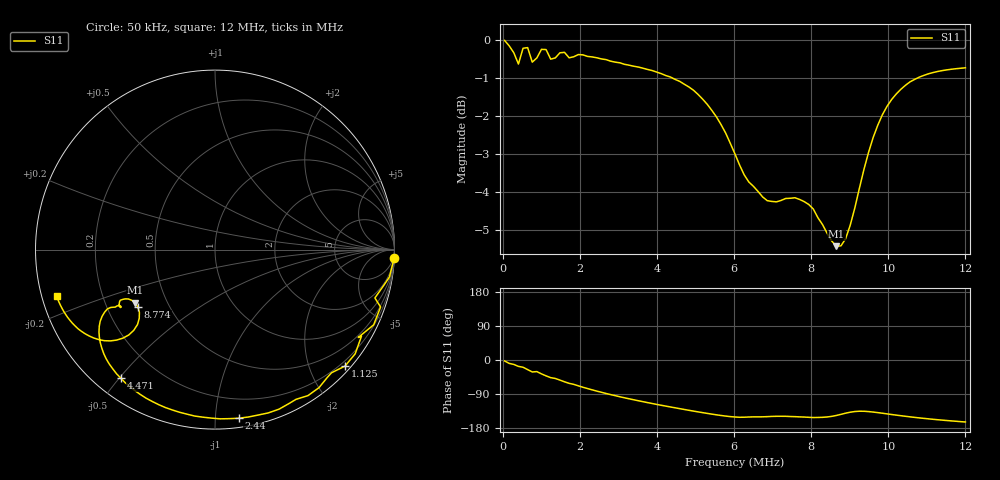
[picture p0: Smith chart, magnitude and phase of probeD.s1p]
# Hz S RI R 50
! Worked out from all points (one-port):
!   101 points, 50 kHz to 12 MHz, reference 50 ohm
!   lowest |S11| = -5.4 dB at 8.654 MHz (marker M1), VSWR 3.30, Z = 16.4 - j13.6 ohm
!   |S11| at or under -10 dB: nowhere
!   S11 on the Smith chart (normalised r, x): 50 kHz: 0, -45; 1.125 MHz: 0.11, -2.61; 2.44 MHz: 0.06, -1.15; 4.471 MHz: 0.07, -0.51; 8.774 MHz: 0.33, -0.30; 12 MHz: 0.04, -0.14
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50000  0.9989 -0.0449
169500  0.9716 -0.1528
408500  0.8908 -0.2695
528000  0.9226 -0.3197
647500  0.8841 -0.4191
767000  0.7978 -0.4897
886500  0.8159 -0.4831
1125500  0.7243 -0.649
1245000  0.6492 -0.6862
1603500  0.5179 -0.8135
2081500  0.2964 -0.91
2440000  0.131 -0.9396
3037500  -0.1132 -0.9274
3754500  -0.3488 -0.8465
4471500  -0.524 -0.7172
4591000  -0.548 -0.6923
5308000  -0.6392 -0.5185
6025000  -0.6156 -0.3495
6861500  -0.5293 -0.3116
7578500  -0.534 -0.3145
8056500  -0.528 -0.2824
8654000  -0.4452 -0.2964
8773500  -0.43 -0.3189
9012500  -0.4221 -0.383
9610000  -0.5482 -0.5043
9968500  -0.6468 -0.5016
1.0566e7  -0.7639 -0.4404
1.2e7  -0.8825 -0.2604
